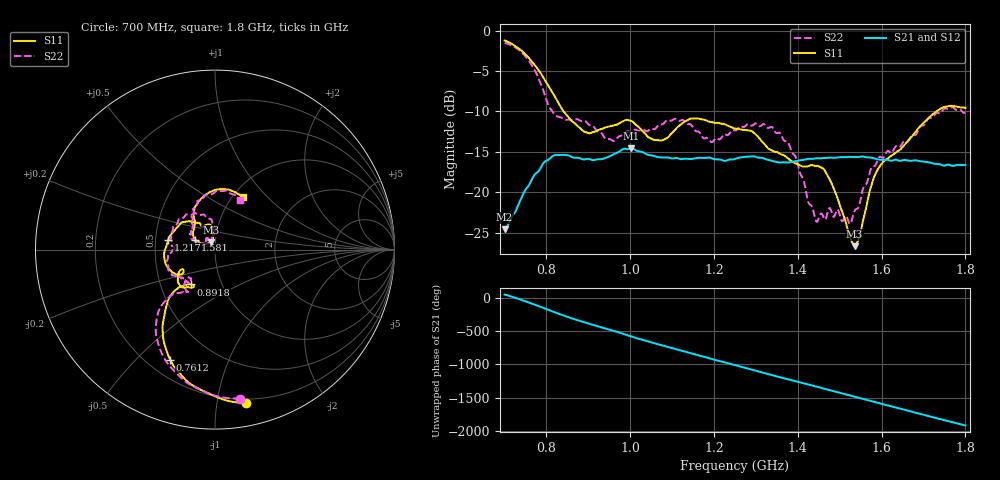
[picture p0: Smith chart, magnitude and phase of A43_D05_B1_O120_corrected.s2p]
! Created with skrf 1.9.0 (http://scikit-rf.org).
# Hz S RI R 50.0
!freq ReS11 ImS11 ReS21 ImS21 ReS12 ImS12 ReS22 ImS22
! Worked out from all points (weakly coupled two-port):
!   1601 points, 700 MHz to 1.8 GHz, reference 50 ohm
!   highest |S21| = -14.57 dB at 1.002 GHz (marker M1); lowest = -24.6 dB at 700 MHz (marker M2)
!   lowest |S11| = -26.7 dB at 1.535 GHz (marker M3), VSWR 1.10, Z = 47.6 + j3.82 ohm
!   |S11| at or under -10 dB: 841 MHz to 1.73 GHz (889.5 MHz wide, 69.2 % of centre)
!   |S22| runs from -23.9 to -1.5 dB; largest |S21 - S12| = 0.0035
!   S11 on the Smith chart (normalised r, x): 700 MHz: 0.17, -1.21; 761.2 MHz: 0.29, -0.63; 891.8 MHz: 0.71, -0.29; 1.217 GHz: 0.58, +0.07; 1.581 GHz: 0.80, +0.09; 1.8 GHz: 1.12, +0.74
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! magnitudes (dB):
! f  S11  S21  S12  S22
! 700 MHz  -1.2  -24.6  -24.4  -1.5
! 761.2 MHz  -3.6  -18.9  -18.7  -4.0
! 818.9 MHz  -8.0  -15.4  -15.5  -10.4
! 883.6 MHz  -12.2  -15.9  -15.8  -11.2
! 891.8 MHz  -12.5  -15.9  -15.9  -11.2
! 958.5 MHz  -11.8  -15.4  -15.4  -13.6
! 1.002 GHz  -11.2  -14.6  -14.7  -12.5
! 1.067 GHz  -13.6  -15.7  -15.6  -11.7
! 1.144 GHz  -10.9  -15.9  -15.9  -11.6
! 1.217 GHz  -11.5  -16.0  -16.0  -13.3
! 1.25 GHz  -12.1  -15.9  -15.8  -12.4
! 1.357 GHz  -15.2  -16.3  -16.3  -12.7
! 1.394 GHz  -16.4  -16.2  -16.1  -15.6
! 1.434 GHz  -16.6  -15.9  -15.8  -21.8
! 1.445 GHz  -16.7  -15.8  -15.8  -23.7
! 1.473 GHz  -18.2  -15.7  -15.7  -22.1
! 1.524 GHz  -25.5  -15.6  -15.6  -23.9
! 1.535 GHz  -26.7  -15.6  -15.6  -22.3
! 1.581 GHz  -18.2  -15.8  -15.8  -16.8
! 1.617 GHz  -15.7  -16.0  -16.0  -14.9
! 1.735 GHz  -9.8  -16.5  -16.5  -10.2
! 1.8 GHz  -9.5  -16.6  -16.6  -10.1
